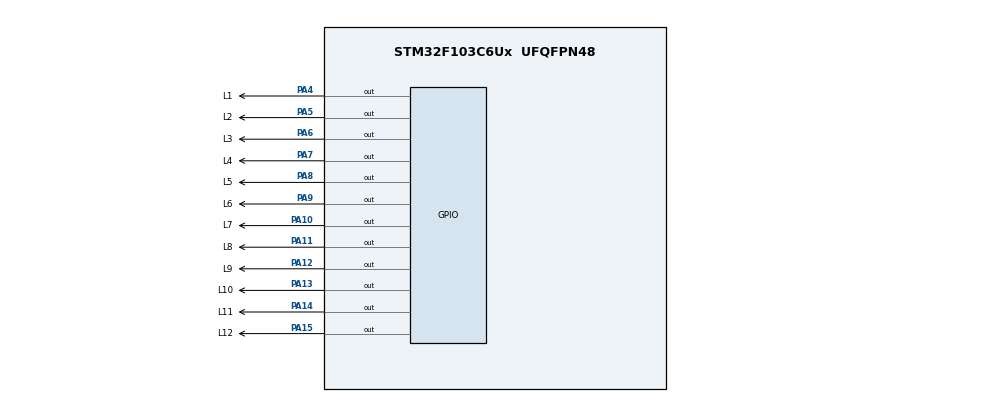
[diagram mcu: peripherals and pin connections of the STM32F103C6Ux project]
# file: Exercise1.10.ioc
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Mcu.Family=STM32F1
Mcu.Name=STM32F103C6Ux
Mcu.Package=UFQFPN48
NVIC.PriorityGroup=NVIC_PRIORITYGROUP_4
PA10.GPIO_Label=L7
PA10.Signal=GPIO_Output
PA11.GPIO_Label=L8
PA11.Signal=GPIO_Output
PA12.GPIO_Label=L9
PA12.Signal=GPIO_Output
PA13.GPIO_Label=L10
PA13.Signal=GPIO_Output
PA14.GPIO_Label=L11
PA14.Signal=GPIO_Output
PA15.GPIO_Label=L12
PA15.Signal=GPIO_Output
PA4.GPIO_Label=L1
PA4.Signal=GPIO_Output
PA5.GPIO_Label=L2
PA5.Signal=GPIO_Output
PA6.GPIO_Label=L3
PA6.Signal=GPIO_Output
PA7.GPIO_Label=L4
PA7.Signal=GPIO_Output
PA8.GPIO_Label=L5
PA8.Signal=GPIO_Output
PA9.GPIO_Label=L6
PA9.Signal=GPIO_Output
ProjectManager.HeapSize=0x200
ProjectManager.StackSize=0x400
ProjectManager.TargetToolchain=STM32CubeIDE
RCC.APB1Freq_Value=8000000
RCC.APB2Freq_Value=8000000
VP_SYS_VS_ND.Mode=No_Debug
board=custom

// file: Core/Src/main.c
/* USER CODE BEGIN Header */
/**
  ******************************************************************************
  * @file           : main.c
  * @brief          : Main program body
  ******************************************************************************
  * @attention
  *
  * <h2><center>&copy; Copyright (c) 2024 STMicroelectronics.
  * All rights reserved.</center></h2>
  *
  * This software component is licensed by ST under BSD 3-Clause license,
  * the "License"; You may not use this file except in compliance with the
  * License. You may obtain a copy of the License at:
  *                        opensource.org/licenses/BSD-3-Clause
  *
  ******************************************************************************
  */
/* USER CODE END Header */
#include "main.h"

void SystemClock_Config(void);
static void MX_GPIO_Init(void);

int main(void)
{

  /* MCU Configuration--------------------------------------------------------*/

  /* Reset of all peripherals, Initializes the Flash interface and the Systick. */
  HAL_Init();

  /* Configure the system clock */
  SystemClock_Config();

  /* Initialize all configured peripherals */
  MX_GPIO_Init();
  /* USER CODE BEGIN 2 */
  uint16_t LEDS[12] = {
      GPIO_PIN_4, GPIO_PIN_5, GPIO_PIN_6, GPIO_PIN_7,
      GPIO_PIN_8, GPIO_PIN_9, GPIO_PIN_10, GPIO_PIN_11,
      GPIO_PIN_12, GPIO_PIN_13, GPIO_PIN_14, GPIO_PIN_15};
  void clearAllClock() {
  	HAL_GPIO_WritePin(GPIOA, GPIO_PIN_4 | GPIO_PIN_5 | GPIO_PIN_6 | GPIO_PIN_7 |
  		    GPIO_PIN_8 | GPIO_PIN_9 | GPIO_PIN_10 | GPIO_PIN_11 |
  		    GPIO_PIN_12 | GPIO_PIN_13 | GPIO_PIN_14 | GPIO_PIN_15, SET);
  }
  void setNumberOnClock(int num) {
  	HAL_GPIO_WritePin(GPIOA, LEDS[num], RESET);
  }
  void clearNumberOnClock(int num) {
  	HAL_GPIO_WritePin(GPIOA, LEDS[num], SET);
  }
  /* USER CODE END 2 */

  /* Infinite loop */
  /* USER CODE BEGIN WHILE */
  int second = 55;
  int minute = 59;
  int hour = 3;
  while (1) {
    /* USER CODE END WHILE */
	//second++;
	if (second >= 60) {
		minute++;
		second = 0;
	}
	if (minute >= 60) {
		hour++;
		minute = 0;
	}
	if (hour >= 12) {
		hour = 0;
	}
	clearAllClock();
	setNumberOnClock(hour);
	setNumberOnClock(minute / 5);
	setNumberOnClock(second / 5);
	second++;
	HAL_Delay(1000);
  }
}

void SystemClock_Config(void)
{
  RCC_OscInitTypeDef RCC_OscInitStruct = {0};
  RCC_ClkInitTypeDef RCC_ClkInitStruct = {0};

  /** Initializes the RCC Oscillators according to the specified parameters
  * in the RCC_OscInitTypeDef structure.
  */
  RCC_OscInitStruct.OscillatorType = RCC_OSCILLATORTYPE_HSI;
  RCC_OscInitStruct.HSIState = RCC_HSI_ON;
  RCC_OscInitStruct.HSICalibrationValue = RCC_HSICALIBRATION_DEFAULT;
  RCC_OscInitStruct.PLL.PLLState = RCC_PLL_NONE;
  if (HAL_RCC_OscConfig(&RCC_OscInitStruct) != HAL_OK)
  {
    Error_Handler();
  }
  /** Initializes the CPU, AHB and APB buses clocks
  */
  RCC_ClkInitStruct.ClockType = RCC_CLOCKTYPE_HCLK|RCC_CLOCKTYPE_SYSCLK
                              |RCC_CLOCKTYPE_PCLK1|RCC_CLOCKTYPE_PCLK2;
  RCC_ClkInitStruct.SYSCLKSource = RCC_SYSCLKSOURCE_HSI;
  RCC_ClkInitStruct.AHBCLKDivider = RCC_SYSCLK_DIV1;
  RCC_ClkInitStruct.APB1CLKDivider = RCC_HCLK_DIV1;
  RCC_ClkInitStruct.APB2CLKDivider = RCC_HCLK_DIV1;

  if (HAL_RCC_ClockConfig(&RCC_ClkInitStruct, FLASH_LATENCY_0) != HAL_OK)
  {
    Error_Handler();
  }
}

static void MX_GPIO_Init(void)
{
  GPIO_InitTypeDef GPIO_InitStruct = {0};

  /* GPIO Ports Clock Enable */
  __HAL_RCC_GPIOA_CLK_ENABLE();

  /*Configure GPIO pin Output Level */
  HAL_GPIO_WritePin(GPIOA, L1_Pin|L2_Pin|L3_Pin|L4_Pin
                          |L5_Pin|L6_Pin|L7_Pin|L8_Pin
                          |L9_Pin|L10_Pin|L11_Pin|L12_Pin, GPIO_PIN_RESET);

  /*Configure GPIO pins : L1_Pin L2_Pin L3_Pin L4_Pin
                           L5_Pin L6_Pin L7_Pin L8_Pin
                           L9_Pin L10_Pin L11_Pin L12_Pin */
  GPIO_InitStruct.Pin = L1_Pin|L2_Pin|L3_Pin|L4_Pin
                          |L5_Pin|L6_Pin|L7_Pin|L8_Pin
                          |L9_Pin|L10_Pin|L11_Pin|L12_Pin;
  GPIO_InitStruct.Mode = GPIO_MODE_OUTPUT_PP;
  GPIO_InitStruct.Pull = GPIO_NOPULL;
  GPIO_InitStruct.Speed = GPIO_SPEED_FREQ_LOW;
  HAL_GPIO_Init(GPIOA, &GPIO_InitStruct);

}

void Error_Handler(void)
{
  __disable_irq();
  while (1)
  {
  }
}

/************************ (C) COPYRIGHT STMicroelectronics *****END OF FILE****/
